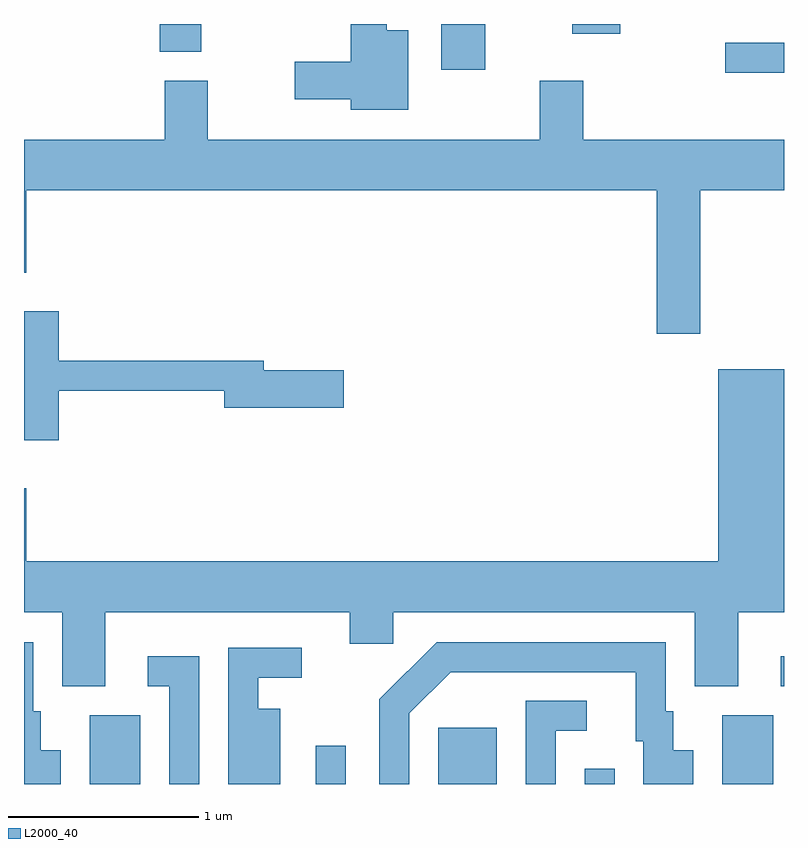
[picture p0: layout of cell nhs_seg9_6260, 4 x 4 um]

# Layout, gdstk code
import gdstk
lib = gdstk.Library(unit=1e-6, precision=1e-09)
def R(c, l, rs):  # rectangles x0, y0, x1, y1
    for r in rs: c.add(gdstk.rectangle(r[:2], r[2:], *l))
def P(c, l, *ps):  # polygons
    for p in ps: c.add(gdstk.Polygon(p, *l))
L2000_40 = (2000, 40)

nhs_seg9_6260 = lib.new_cell('nhs_seg9_6260')
R(nhs_seg9_6260, L2000_40, [(369.956,2026.432,370.224,2026.794), (371.146,2026.432,371.304,2026.633), (371.791,2026.432,372.099,2026.729), (372.561,2026.432,372.719,2026.513), (373.286,2026.432,373.554,2026.794), (373.593,2026.946,373.611,2027.104), (373.303,2030.176,373.611,2030.334), (371.806,2030.191,372.039,2030.432), (370.326,2030.286,370.544,2030.432), (372.496,2030.381,372.749,2030.432)])
P(nhs_seg9_6260, L2000_40, [(371.634,2030.399),(371.519,2030.399),(371.519,2030.432),(371.331,2030.432),(371.331,2030.234),(371.036,2030.234),(371.036,2030.036),(371.331,2030.036),(371.331,2029.981),(371.634,2029.981)],
  [(372.554,2030.134),(372.326,2030.134),(372.326,2029.824),(370.579,2029.824),(370.579,2030.134),(370.351,2030.134),(370.351,2029.824),(369.611,2029.824),(369.611,2029.123),(369.624,2029.123),(369.624,2029.556),(372.941,2029.556),(372.941,2028.801),(373.169,2028.801),(373.169,2029.556),(373.611,2029.556),(373.611,2029.824),(372.554,2029.824)],
  [(369.794,2028.501),(370.666,2028.501),(370.666,2028.411),(371.294,2028.411),(371.294,2028.609),(370.874,2028.609),(370.874,2028.659),(369.794,2028.659),(369.794,2028.919),(369.611,2028.919),(369.611,2028.241),(369.794,2028.241)],
  [(370.039,2027.336),(371.326,2027.336),(371.326,2027.171),(371.554,2027.171),(371.554,2027.336),(373.141,2027.336),(373.141,2026.946),(373.369,2026.946),(373.369,2027.336),(373.611,2027.336),(373.611,2028.614),(373.266,2028.614),(373.266,2027.604),(369.624,2027.604),(369.624,2027.988),(369.611,2027.988),(369.611,2027.336),(369.811,2027.336),(369.811,2026.946),(370.039,2026.946)],
  [(371.639,2026.804),(371.857,2027.021),(372.831,2027.021),(372.831,2026.656),(372.871,2026.656),(372.871,2026.432),(373.134,2026.432),(373.134,2026.609),(373.029,2026.609),(373.029,2026.814),(372.989,2026.814),(372.989,2027.179),(371.784,2027.179),(371.481,2026.877),(371.481,2026.432),(371.639,2026.432)],
  [(369.804,2026.609),(369.699,2026.609),(369.699,2026.814),(369.659,2026.814),(369.659,2027.179),(369.611,2027.179),(369.611,2026.432),(369.804,2026.432)],
  [(370.959,2026.829),(370.844,2026.829),(370.844,2026.991),(371.073,2026.991),(371.073,2027.149),(370.686,2027.149),(370.686,2026.432),(370.959,2026.432)],
  [(370.534,2027.104),(370.263,2027.104),(370.263,2026.946),(370.376,2026.946),(370.376,2026.432),(370.534,2026.432)],
  [(372.409,2026.711),(372.573,2026.711),(372.573,2026.869),(372.251,2026.869),(372.251,2026.432),(372.409,2026.432)])

lib.write_gds('nhs_seg9_6260.gds')
